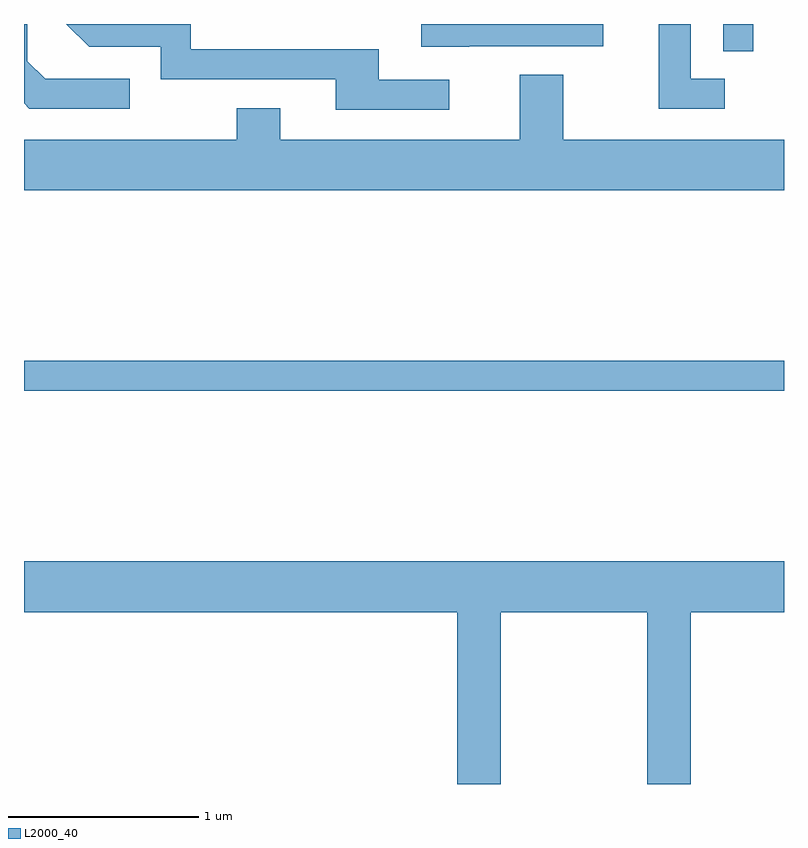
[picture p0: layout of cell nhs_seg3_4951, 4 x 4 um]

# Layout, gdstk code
import gdstk
lib = gdstk.Library(unit=1e-6, precision=1e-09)
def R(c, l, rs):  # rectangles x0, y0, x1, y1
    for r in rs: c.add(gdstk.rectangle(r[:2], r[2:], *l))
def P(c, l, *ps):  # polygons
    for p in ps: c.add(gdstk.Polygon(p, *l))
L2000_40 = (2000, 40)

nhs_seg3_4951 = lib.new_cell('nhs_seg3_4951')
R(nhs_seg3_4951, L2000_40, [(329.611,1235.961,333.611,1236.119), (333.291,1237.748,333.449,1237.892)])
P(nhs_seg3_4951, L2000_40, [(330.168,1237.604),(329.722,1237.604),(329.629,1237.697),(329.629,1237.892),(329.611,1237.892),(329.611,1237.474),(329.639,1237.446),(330.168,1237.446)],
  [(331.848,1237.599),(331.479,1237.599),(331.479,1237.759),(330.489,1237.759),(330.489,1237.892),(329.833,1237.892),(329.954,1237.771),(330.331,1237.771),(330.331,1237.601),(331.251,1237.601),(331.251,1237.441),(331.848,1237.441)],
  [(331.955,1237.776),(332.659,1237.776),(332.659,1237.892),(331.701,1237.892),(331.701,1237.771),(331.955,1237.771)],
  [(333.298,1237.604),(333.119,1237.604),(333.119,1237.892),(332.951,1237.892),(332.951,1237.446),(333.298,1237.446)],
  [(333.611,1237.284),(332.449,1237.284),(332.449,1237.624),(332.221,1237.624),(332.221,1237.284),(330.959,1237.284),(330.959,1237.449),(330.731,1237.449),(330.731,1237.284),(329.611,1237.284),(329.611,1237.016),(333.611,1237.016)],
  [(332.119,1234.796),(332.891,1234.796),(332.891,1233.892),(333.119,1233.892),(333.119,1234.796),(333.611,1234.796),(333.611,1235.064),(329.611,1235.064),(329.611,1234.796),(331.891,1234.796),(331.891,1233.892),(332.119,1233.892)])

lib.write_gds('nhs_seg3_4951.gds')
